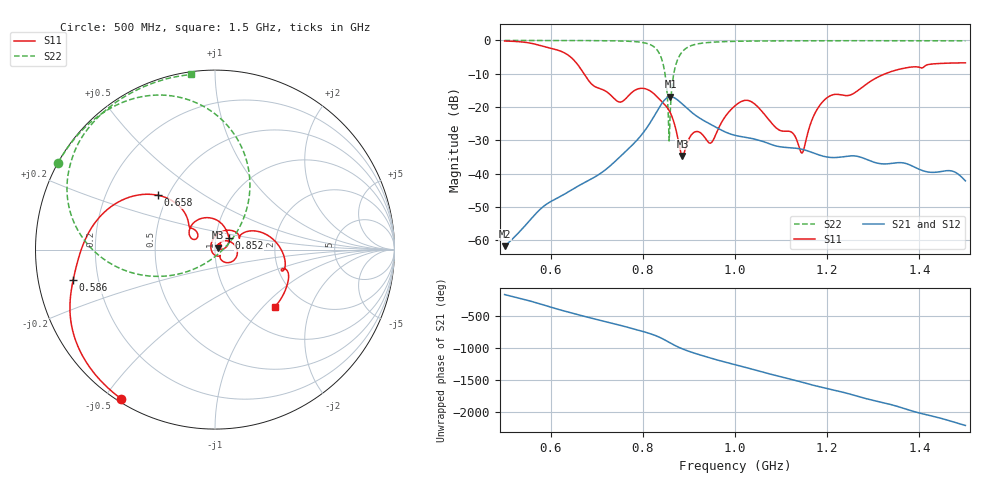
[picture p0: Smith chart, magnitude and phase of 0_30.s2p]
! TOUCHSTONE file generated by CST MICROWAVE STUDIO
! Date and time: Sat Oct 24 11:16:23 2020
! Project name: Scenario_1_Circular_Tissue_in_Line.cst
! Parameters = {L_HA=400; MT=2.54; Rad_Dielectric=30; Rad_Lower=7.3; Rad_Upper=30; a_HA=580; a_WG=246; b_HA=500; b_WG=121; c_HA=0; c_WG=187; d_feed=85; dx1=675.28; h_feed=15; h_lower=18; h_upper=40}
! Header version: 2018
! Port assignment regex: !\s*Touchstone port\s*([0-9]+)\s*=\s*(CST MWS port|CST DS port)\s*([0-9]+|Zmin|Zmax)\s*\(\"(.*)\"\)(\s*mode\s*([0-9]+))?.*
! Touchstone port assignment:
! Touchstone port 1 = CST MWS port 1 ("")
! Touchstone port 2 = CST MWS port 2 ("")
# GHz S DB R 50
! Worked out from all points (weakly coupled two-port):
!   1003 points, 500 MHz to 1.5 GHz, reference 50 ohm
!   highest |S21| = -16.89 dB at 860 MHz (marker M1); lowest = -61.7 dB at 500 MHz (marker M2)
!   lowest |S11| = -34.6 dB at 886 MHz (marker M3), VSWR 1.04, Z = 51.5 + j1.14 ohm
!   |S11| at or under -10 dB: 672.2 MHz to 1.326 GHz (653.7 MHz wide, 65.4 % of centre)
!   |S22| runs from -30.1 to 0.0 dB; largest |S21 - S12| = 0.0001
!   S11 on the Smith chart (normalised r, x): 500 MHz: 0.01, -0.55; 586 MHz: 0.11, -0.10; 658 MHz: 0.44, +0.33; 852 MHz: 1.16, +0.15; 1.5 GHz: 1.44, -1.17
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0.5  -0.16 -122.3  -61.70 -155.9  -61.70 -155.9  -0.01 151.1
0.586  -1.86 -168.0  -49.61 36.2  -49.61 36.2  -0.02 145.1
0.658  -7.15 136.4  -43.80 -109.8  -43.80 -109.8  -0.04 139.2
0.667  -8.90 131.1  -43.11 -127.2  -43.11 -127.2  -0.04 138.3
0.747  -18.40 143.2  -35.35 88.6  -35.35 88.7  -0.15 128.0
0.78  -15.19 146.1  -30.98 24.1  -30.98 24.1  -0.33 120.2
0.834  -17.33 67.3  -20.47 -100.4  -20.47 -100.4  -3.47 82.2
0.846  -19.03 49.8  -18.03 -142.7  -18.03 -142.7  -8.36 59.5
0.852  -19.98 39.5  -17.26 -166.5  -17.26 -166.5  -14.65 42.4
0.86  -21.81 24.0  -16.89 161.2  -16.89 161.2  -19.94 -127.1
0.868  -24.80 9.3  -17.18 130.2  -17.18 130.2  -9.33 -154.1
0.886  -34.64 36.8  -19.12 70.1  -19.12 70.1  -3.32 180.0
0.913  -27.43 44.4  -22.33 0.6  -22.33 0.6  -1.21 160.9
0.949  -30.62 40.8  -25.32 -78.2  -25.32 -78.2  -0.56 149.0
1  -19.60 20.1  -28.47 -176.9  -28.47 -176.9  -0.27 140.1
1.039  -18.67 -34.7  -29.48 107.6  -29.48 107.6  -0.19 135.4
1.125  -27.76 -63.7  -32.24 -52.7  -32.24 -52.7  -0.11 127.5
1.145  -33.78 -157.5  -32.63 -92.4  -32.63 -92.4  -0.10 125.9
1.167  -23.85 96.2  -33.59 -135.5  -33.59 -135.5  -0.09 124.1
1.203  -16.87 47.3  -35.03 162.4  -35.03 162.4  -0.09 121.3
1.334  -9.57 9.3  -36.97 -76.4  -36.99 -76.4  -0.09 111.4
1.5  -6.72 -43.7  -42.12 -52.8  -42.12 -52.8  -0.13 97.8
